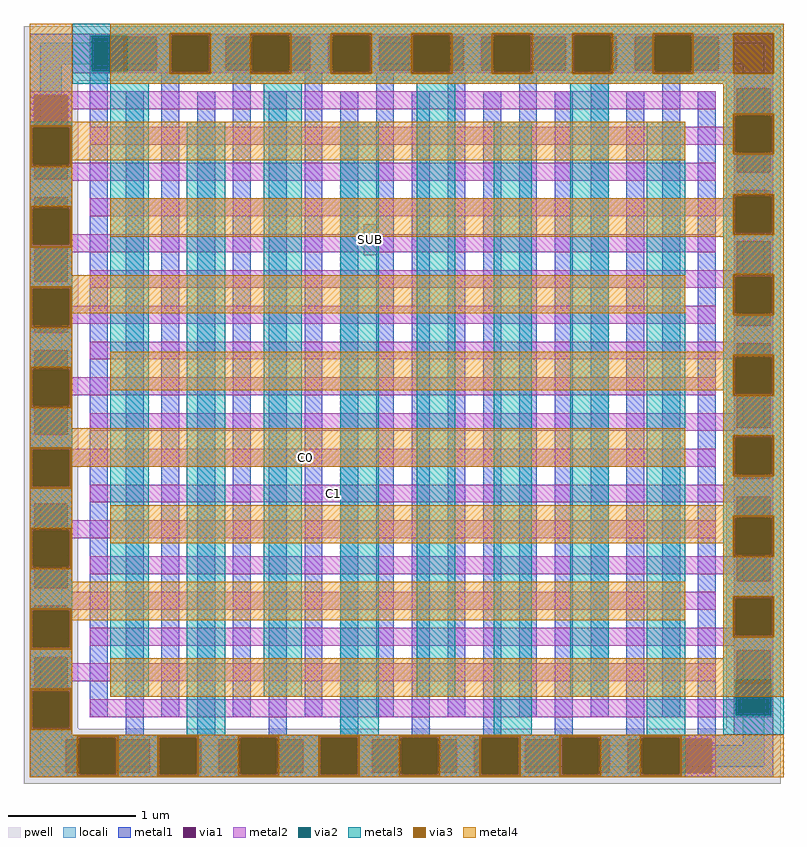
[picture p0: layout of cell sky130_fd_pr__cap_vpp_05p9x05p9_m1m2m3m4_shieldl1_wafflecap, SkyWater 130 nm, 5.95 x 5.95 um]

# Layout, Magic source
magic
tech sky130A
magscale 1 2
<< pwell >>
rect -10 1090 1176 1176
rect -10 76 76 1090
rect 523 817 544 866
rect 1090 76 1176 1090
rect -10 -10 1176 76
<< locali >>
rect 16 1116 1150 1150
rect 16 50 50 1116
rect 1116 50 1150 1116
rect 16 16 1150 50
<< metal1 >>
rect 0 1068 66 1164
rect 0 1016 7 1068
rect 59 1016 66 1068
rect 0 988 66 1016
rect 0 936 7 988
rect 59 936 66 988
rect 0 908 66 936
rect 0 856 7 908
rect 59 856 66 908
rect 0 828 66 856
rect 0 776 7 828
rect 59 776 66 828
rect 0 748 66 776
rect 0 696 7 748
rect 59 696 66 748
rect 0 668 66 696
rect 0 616 7 668
rect 59 616 66 668
rect 0 588 66 616
rect 0 536 7 588
rect 59 536 66 588
rect 0 508 66 536
rect 0 456 7 508
rect 59 456 66 508
rect 0 428 66 456
rect 0 376 7 428
rect 59 376 66 428
rect 0 348 66 376
rect 0 296 7 348
rect 59 296 66 348
rect 0 268 66 296
rect 0 216 7 268
rect 59 216 66 268
rect 0 188 66 216
rect 0 136 7 188
rect 59 136 66 188
rect 0 66 66 136
rect 94 1159 1164 1164
rect 94 1107 147 1159
rect 199 1107 227 1159
rect 279 1107 307 1159
rect 359 1107 387 1159
rect 439 1107 467 1159
rect 519 1107 547 1159
rect 599 1107 627 1159
rect 679 1107 707 1159
rect 759 1107 787 1159
rect 839 1107 867 1159
rect 919 1107 947 1159
rect 999 1107 1027 1159
rect 1079 1107 1164 1159
rect 94 1102 1164 1107
rect 94 94 122 1102
rect 150 66 178 1074
rect 206 94 234 1102
rect 262 66 290 1074
rect 318 94 346 1102
rect 374 66 402 1074
rect 430 94 458 1102
rect 486 66 514 1074
rect 542 94 570 1102
rect 598 66 626 1074
rect 654 94 682 1102
rect 710 66 738 1074
rect 766 94 794 1102
rect 822 66 850 1074
rect 878 94 906 1102
rect 934 66 962 1074
rect 990 94 1018 1102
rect 1102 1079 1164 1102
rect 1046 66 1074 1074
rect 1102 1027 1107 1079
rect 1159 1027 1164 1079
rect 1102 999 1164 1027
rect 1102 947 1107 999
rect 1159 947 1164 999
rect 1102 919 1164 947
rect 1102 867 1107 919
rect 1159 867 1164 919
rect 1102 839 1164 867
rect 1102 787 1107 839
rect 1159 787 1164 839
rect 1102 759 1164 787
rect 1102 707 1107 759
rect 1159 707 1164 759
rect 1102 679 1164 707
rect 1102 627 1107 679
rect 1159 627 1164 679
rect 1102 599 1164 627
rect 1102 547 1107 599
rect 1159 547 1164 599
rect 1102 519 1164 547
rect 1102 467 1107 519
rect 1159 467 1164 519
rect 1102 439 1164 467
rect 1102 387 1107 439
rect 1159 387 1164 439
rect 1102 359 1164 387
rect 1102 307 1107 359
rect 1159 307 1164 359
rect 1102 279 1164 307
rect 1102 227 1107 279
rect 1159 227 1164 279
rect 1102 199 1164 227
rect 1102 147 1107 199
rect 1159 147 1164 199
rect 1102 94 1164 147
rect 0 59 1164 66
rect 0 7 56 59
rect 108 7 136 59
rect 188 7 216 59
rect 268 7 296 59
rect 348 7 376 59
rect 428 7 456 59
rect 508 7 536 59
rect 588 7 616 59
rect 668 7 696 59
rect 748 7 776 59
rect 828 7 856 59
rect 908 7 936 59
rect 988 7 1016 59
rect 1068 7 1164 59
rect 0 0 1164 7
<< via1 >>
rect 7 1016 59 1068
rect 7 936 59 988
rect 7 856 59 908
rect 7 776 59 828
rect 7 696 59 748
rect 7 616 59 668
rect 7 536 59 588
rect 7 456 59 508
rect 7 376 59 428
rect 7 296 59 348
rect 7 216 59 268
rect 7 136 59 188
rect 147 1107 199 1159
rect 227 1107 279 1159
rect 307 1107 359 1159
rect 387 1107 439 1159
rect 467 1107 519 1159
rect 547 1107 599 1159
rect 627 1107 679 1159
rect 707 1107 759 1159
rect 787 1107 839 1159
rect 867 1107 919 1159
rect 947 1107 999 1159
rect 1027 1107 1079 1159
rect 1107 1027 1159 1079
rect 1107 947 1159 999
rect 1107 867 1159 919
rect 1107 787 1159 839
rect 1107 707 1159 759
rect 1107 627 1159 679
rect 1107 547 1159 599
rect 1107 467 1159 519
rect 1107 387 1159 439
rect 1107 307 1159 359
rect 1107 227 1159 279
rect 1107 147 1159 199
rect 56 7 108 59
rect 136 7 188 59
rect 216 7 268 59
rect 296 7 348 59
rect 376 7 428 59
rect 456 7 508 59
rect 536 7 588 59
rect 616 7 668 59
rect 696 7 748 59
rect 776 7 828 59
rect 856 7 908 59
rect 936 7 988 59
rect 1016 7 1068 59
<< metal2 >>
rect 66 1161 1164 1164
rect 66 1105 97 1161
rect 153 1159 223 1161
rect 279 1159 349 1161
rect 405 1159 475 1161
rect 531 1159 601 1161
rect 657 1159 727 1161
rect 783 1159 853 1161
rect 909 1159 979 1161
rect 1035 1159 1164 1161
rect 199 1107 223 1159
rect 279 1107 307 1159
rect 439 1107 467 1159
rect 531 1107 547 1159
rect 599 1107 601 1159
rect 679 1107 707 1159
rect 783 1107 787 1159
rect 839 1107 853 1159
rect 919 1107 947 1159
rect 1079 1107 1164 1159
rect 153 1105 223 1107
rect 279 1105 349 1107
rect 405 1105 475 1107
rect 531 1105 601 1107
rect 657 1105 727 1107
rect 783 1105 853 1107
rect 909 1105 979 1107
rect 1035 1105 1164 1107
rect 66 1102 1164 1105
rect 1102 1079 1164 1102
rect 0 1068 1074 1074
rect 0 1016 7 1068
rect 59 1046 1074 1068
rect 59 1016 66 1046
rect 1102 1035 1107 1079
rect 1159 1035 1164 1079
rect 1102 1018 1105 1035
rect 0 960 5 1016
rect 61 962 66 1016
rect 94 990 1105 1018
rect 1102 979 1105 990
rect 1161 979 1164 1035
rect 61 960 1074 962
rect 0 936 7 960
rect 59 936 1074 960
rect 0 934 1074 936
rect 1102 947 1107 979
rect 1159 947 1164 979
rect 0 908 66 934
rect 0 890 7 908
rect 59 890 66 908
rect 1102 919 1164 947
rect 1102 909 1107 919
rect 1159 909 1164 919
rect 1102 906 1105 909
rect 0 834 5 890
rect 61 850 66 890
rect 94 878 1105 906
rect 1102 853 1105 878
rect 1161 853 1164 909
rect 61 834 1074 850
rect 0 828 1074 834
rect 0 776 7 828
rect 59 822 1074 828
rect 1102 839 1164 853
rect 59 776 66 822
rect 1102 794 1107 839
rect 0 764 66 776
rect 94 787 1107 794
rect 1159 787 1164 839
rect 94 783 1164 787
rect 94 766 1105 783
rect 0 708 5 764
rect 61 738 66 764
rect 61 710 1074 738
rect 1102 727 1105 766
rect 1161 727 1164 783
rect 61 708 66 710
rect 0 696 7 708
rect 59 696 66 708
rect 0 668 66 696
rect 1102 707 1107 727
rect 1159 707 1164 727
rect 1102 682 1164 707
rect 0 638 7 668
rect 59 638 66 668
rect 94 679 1164 682
rect 94 657 1107 679
rect 1159 657 1164 679
rect 94 654 1105 657
rect 0 582 5 638
rect 61 626 66 638
rect 61 598 1074 626
rect 1102 601 1105 654
rect 1161 601 1164 657
rect 1102 599 1164 601
rect 61 582 66 598
rect 0 536 7 582
rect 59 536 66 582
rect 1102 570 1107 599
rect 94 547 1107 570
rect 1159 547 1164 599
rect 94 542 1164 547
rect 0 514 66 536
rect 1102 531 1164 542
rect 0 512 1074 514
rect 0 456 5 512
rect 61 486 1074 512
rect 61 456 66 486
rect 1102 475 1105 531
rect 1161 475 1164 531
rect 1102 467 1107 475
rect 1159 467 1164 475
rect 1102 458 1164 467
rect 0 428 66 456
rect 94 439 1164 458
rect 94 430 1107 439
rect 0 386 7 428
rect 59 402 66 428
rect 1102 405 1107 430
rect 1159 405 1164 439
rect 59 386 1074 402
rect 0 330 5 386
rect 61 374 1074 386
rect 61 330 66 374
rect 1102 349 1105 405
rect 1161 349 1164 405
rect 1102 346 1107 349
rect 0 296 7 330
rect 59 296 66 330
rect 94 318 1107 346
rect 0 290 66 296
rect 1102 307 1107 318
rect 1159 307 1164 349
rect 0 268 1074 290
rect 0 260 7 268
rect 59 262 1074 268
rect 1102 279 1164 307
rect 59 260 66 262
rect 0 204 5 260
rect 61 204 66 260
rect 1102 234 1105 279
rect 94 223 1105 234
rect 1161 223 1164 279
rect 94 206 1164 223
rect 0 188 66 204
rect 0 136 7 188
rect 59 178 66 188
rect 1102 199 1164 206
rect 59 150 1074 178
rect 1102 153 1107 199
rect 1159 153 1164 199
rect 59 136 66 150
rect 0 134 66 136
rect 0 78 5 134
rect 61 78 66 134
rect 1102 122 1105 153
rect 94 97 1105 122
rect 1161 97 1164 153
rect 94 94 1164 97
rect 0 66 66 78
rect 1102 66 1164 94
rect 0 61 1074 66
rect 0 59 78 61
rect 134 59 204 61
rect 260 59 330 61
rect 386 59 456 61
rect 512 59 582 61
rect 638 59 708 61
rect 764 59 834 61
rect 890 59 960 61
rect 1016 59 1074 61
rect 0 7 56 59
rect 134 7 136 59
rect 188 7 204 59
rect 268 7 296 59
rect 428 7 456 59
rect 512 7 536 59
rect 668 7 696 59
rect 764 7 776 59
rect 828 7 834 59
rect 908 7 936 59
rect 1068 7 1074 59
rect 0 5 78 7
rect 134 5 204 7
rect 260 5 330 7
rect 386 5 456 7
rect 512 5 582 7
rect 638 5 708 7
rect 764 5 834 7
rect 890 5 960 7
rect 1016 5 1074 7
rect 0 0 1074 5
<< via2 >>
rect 97 1159 153 1161
rect 223 1159 279 1161
rect 349 1159 405 1161
rect 475 1159 531 1161
rect 601 1159 657 1161
rect 727 1159 783 1161
rect 853 1159 909 1161
rect 979 1159 1035 1161
rect 97 1107 147 1159
rect 147 1107 153 1159
rect 223 1107 227 1159
rect 227 1107 279 1159
rect 349 1107 359 1159
rect 359 1107 387 1159
rect 387 1107 405 1159
rect 475 1107 519 1159
rect 519 1107 531 1159
rect 601 1107 627 1159
rect 627 1107 657 1159
rect 727 1107 759 1159
rect 759 1107 783 1159
rect 853 1107 867 1159
rect 867 1107 909 1159
rect 979 1107 999 1159
rect 999 1107 1027 1159
rect 1027 1107 1035 1159
rect 97 1105 153 1107
rect 223 1105 279 1107
rect 349 1105 405 1107
rect 475 1105 531 1107
rect 601 1105 657 1107
rect 727 1105 783 1107
rect 853 1105 909 1107
rect 979 1105 1035 1107
rect 1105 1027 1107 1035
rect 1107 1027 1159 1035
rect 1159 1027 1161 1035
rect 5 988 61 1016
rect 5 960 7 988
rect 7 960 59 988
rect 59 960 61 988
rect 1105 999 1161 1027
rect 1105 979 1107 999
rect 1107 979 1159 999
rect 1159 979 1161 999
rect 5 856 7 890
rect 7 856 59 890
rect 59 856 61 890
rect 5 834 61 856
rect 1105 867 1107 909
rect 1107 867 1159 909
rect 1159 867 1161 909
rect 1105 853 1161 867
rect 5 748 61 764
rect 5 708 7 748
rect 7 708 59 748
rect 59 708 61 748
rect 1105 759 1161 783
rect 1105 727 1107 759
rect 1107 727 1159 759
rect 1159 727 1161 759
rect 5 616 7 638
rect 7 616 59 638
rect 59 616 61 638
rect 5 588 61 616
rect 1105 627 1107 657
rect 1107 627 1159 657
rect 1159 627 1161 657
rect 1105 601 1161 627
rect 5 582 7 588
rect 7 582 59 588
rect 59 582 61 588
rect 5 508 61 512
rect 5 456 7 508
rect 7 456 59 508
rect 59 456 61 508
rect 1105 519 1161 531
rect 1105 475 1107 519
rect 1107 475 1159 519
rect 1159 475 1161 519
rect 5 376 7 386
rect 7 376 59 386
rect 59 376 61 386
rect 5 348 61 376
rect 5 330 7 348
rect 7 330 59 348
rect 59 330 61 348
rect 1105 387 1107 405
rect 1107 387 1159 405
rect 1159 387 1161 405
rect 1105 359 1161 387
rect 1105 349 1107 359
rect 1107 349 1159 359
rect 1159 349 1161 359
rect 5 216 7 260
rect 7 216 59 260
rect 59 216 61 260
rect 5 204 61 216
rect 1105 227 1107 279
rect 1107 227 1159 279
rect 1159 227 1161 279
rect 1105 223 1161 227
rect 5 78 61 134
rect 1105 147 1107 153
rect 1107 147 1159 153
rect 1159 147 1161 153
rect 1105 97 1161 147
rect 78 59 134 61
rect 204 59 260 61
rect 330 59 386 61
rect 456 59 512 61
rect 582 59 638 61
rect 708 59 764 61
rect 834 59 890 61
rect 960 59 1016 61
rect 78 7 108 59
rect 108 7 134 59
rect 204 7 216 59
rect 216 7 260 59
rect 330 7 348 59
rect 348 7 376 59
rect 376 7 386 59
rect 456 7 508 59
rect 508 7 512 59
rect 582 7 588 59
rect 588 7 616 59
rect 616 7 638 59
rect 708 7 748 59
rect 748 7 764 59
rect 834 7 856 59
rect 856 7 890 59
rect 960 7 988 59
rect 988 7 1016 59
rect 78 5 134 7
rect 204 5 260 7
rect 330 5 386 7
rect 456 5 512 7
rect 582 5 638 7
rect 708 5 764 7
rect 834 5 890 7
rect 960 5 1016 7
<< metal3 >>
rect 66 1165 1180 1180
rect 66 1161 219 1165
rect 66 1105 97 1161
rect 153 1105 219 1161
rect 66 1101 219 1105
rect 283 1101 345 1165
rect 409 1101 471 1165
rect 535 1101 597 1165
rect 661 1101 723 1165
rect 787 1101 849 1165
rect 913 1101 975 1165
rect 1039 1101 1101 1165
rect 1165 1101 1180 1165
rect 66 1086 1180 1101
rect 0 1020 66 1026
rect 0 956 1 1020
rect 65 956 66 1020
rect 0 894 66 956
rect 0 830 1 894
rect 65 830 66 894
rect 0 768 66 830
rect 0 704 1 768
rect 65 704 66 768
rect 0 642 66 704
rect 0 578 1 642
rect 65 578 66 642
rect 0 516 66 578
rect 0 452 1 516
rect 65 452 66 516
rect 0 390 66 452
rect 0 326 1 390
rect 65 326 66 390
rect 0 264 66 326
rect 0 200 1 264
rect 65 200 66 264
rect 0 138 66 200
rect 0 74 1 138
rect 65 74 66 138
rect 126 126 186 1086
rect 0 66 66 74
rect 246 66 306 1026
rect 366 126 426 1086
rect 486 66 546 1026
rect 606 126 666 1086
rect 726 66 786 1026
rect 846 126 906 1086
rect 1086 1039 1180 1086
rect 966 66 1026 1026
rect 1086 975 1101 1039
rect 1165 975 1180 1039
rect 1086 913 1180 975
rect 1086 849 1101 913
rect 1165 849 1180 913
rect 1086 787 1180 849
rect 1086 723 1101 787
rect 1165 723 1180 787
rect 1086 661 1180 723
rect 1086 597 1101 661
rect 1165 597 1180 661
rect 1086 535 1180 597
rect 1086 471 1101 535
rect 1165 471 1180 535
rect 1086 409 1180 471
rect 1086 345 1101 409
rect 1165 345 1180 409
rect 1086 283 1180 345
rect 1086 219 1101 283
rect 1165 219 1180 283
rect 1086 153 1180 219
rect 1086 97 1105 153
rect 1161 97 1180 153
rect 1086 66 1180 97
rect 0 65 1026 66
rect 0 1 74 65
rect 138 1 200 65
rect 264 1 326 65
rect 390 1 452 65
rect 516 1 578 65
rect 642 1 704 65
rect 768 1 830 65
rect 894 1 956 65
rect 1020 1 1026 65
rect 0 0 1026 1
<< via3 >>
rect 219 1161 283 1165
rect 219 1105 223 1161
rect 223 1105 279 1161
rect 279 1105 283 1161
rect 219 1101 283 1105
rect 345 1161 409 1165
rect 345 1105 349 1161
rect 349 1105 405 1161
rect 405 1105 409 1161
rect 345 1101 409 1105
rect 471 1161 535 1165
rect 471 1105 475 1161
rect 475 1105 531 1161
rect 531 1105 535 1161
rect 471 1101 535 1105
rect 597 1161 661 1165
rect 597 1105 601 1161
rect 601 1105 657 1161
rect 657 1105 661 1161
rect 597 1101 661 1105
rect 723 1161 787 1165
rect 723 1105 727 1161
rect 727 1105 783 1161
rect 783 1105 787 1161
rect 723 1101 787 1105
rect 849 1161 913 1165
rect 849 1105 853 1161
rect 853 1105 909 1161
rect 909 1105 913 1161
rect 849 1101 913 1105
rect 975 1161 1039 1165
rect 975 1105 979 1161
rect 979 1105 1035 1161
rect 1035 1105 1039 1161
rect 975 1101 1039 1105
rect 1101 1101 1165 1165
rect 1 1016 65 1020
rect 1 960 5 1016
rect 5 960 61 1016
rect 61 960 65 1016
rect 1 956 65 960
rect 1 890 65 894
rect 1 834 5 890
rect 5 834 61 890
rect 61 834 65 890
rect 1 830 65 834
rect 1 764 65 768
rect 1 708 5 764
rect 5 708 61 764
rect 61 708 65 764
rect 1 704 65 708
rect 1 638 65 642
rect 1 582 5 638
rect 5 582 61 638
rect 61 582 65 638
rect 1 578 65 582
rect 1 512 65 516
rect 1 456 5 512
rect 5 456 61 512
rect 61 456 65 512
rect 1 452 65 456
rect 1 386 65 390
rect 1 330 5 386
rect 5 330 61 386
rect 61 330 65 386
rect 1 326 65 330
rect 1 260 65 264
rect 1 204 5 260
rect 5 204 61 260
rect 61 204 65 260
rect 1 200 65 204
rect 1 134 65 138
rect 1 78 5 134
rect 5 78 61 134
rect 61 78 65 134
rect 1 74 65 78
rect 1101 1035 1165 1039
rect 1101 979 1105 1035
rect 1105 979 1161 1035
rect 1161 979 1165 1035
rect 1101 975 1165 979
rect 1101 909 1165 913
rect 1101 853 1105 909
rect 1105 853 1161 909
rect 1161 853 1165 909
rect 1101 849 1165 853
rect 1101 783 1165 787
rect 1101 727 1105 783
rect 1105 727 1161 783
rect 1161 727 1165 783
rect 1101 723 1165 727
rect 1101 657 1165 661
rect 1101 601 1105 657
rect 1105 601 1161 657
rect 1161 601 1165 657
rect 1101 597 1165 601
rect 1101 531 1165 535
rect 1101 475 1105 531
rect 1105 475 1161 531
rect 1161 475 1165 531
rect 1101 471 1165 475
rect 1101 405 1165 409
rect 1101 349 1105 405
rect 1105 349 1161 405
rect 1161 349 1165 405
rect 1101 345 1165 349
rect 1101 279 1165 283
rect 1101 223 1105 279
rect 1105 223 1161 279
rect 1161 223 1165 279
rect 1101 219 1165 223
rect 74 61 138 65
rect 74 5 78 61
rect 78 5 134 61
rect 134 5 138 61
rect 74 1 138 5
rect 200 61 264 65
rect 200 5 204 61
rect 204 5 260 61
rect 260 5 264 61
rect 200 1 264 5
rect 326 61 390 65
rect 326 5 330 61
rect 330 5 386 61
rect 386 5 390 61
rect 326 1 390 5
rect 452 61 516 65
rect 452 5 456 61
rect 456 5 512 61
rect 512 5 516 61
rect 452 1 516 5
rect 578 61 642 65
rect 578 5 582 61
rect 582 5 638 61
rect 638 5 642 61
rect 578 1 642 5
rect 704 61 768 65
rect 704 5 708 61
rect 708 5 764 61
rect 764 5 768 61
rect 704 1 768 5
rect 830 61 894 65
rect 830 5 834 61
rect 834 5 890 61
rect 890 5 894 61
rect 830 1 894 5
rect 956 61 1020 65
rect 956 5 960 61
rect 960 5 1016 61
rect 1016 5 1020 61
rect 956 1 1020 5
<< metal4 >>
rect 0 1026 66 1180
rect 126 1165 1180 1180
rect 126 1101 219 1165
rect 283 1101 345 1165
rect 409 1101 471 1165
rect 535 1101 597 1165
rect 661 1101 723 1165
rect 787 1101 849 1165
rect 913 1101 975 1165
rect 1039 1101 1101 1165
rect 1165 1101 1180 1165
rect 126 1086 1180 1101
rect 1086 1039 1180 1086
rect 0 1020 1026 1026
rect 0 956 1 1020
rect 65 966 1026 1020
rect 1086 975 1101 1039
rect 1165 975 1180 1039
rect 65 956 66 966
rect 0 894 66 956
rect 1086 913 1180 975
rect 1086 906 1101 913
rect 0 830 1 894
rect 65 830 66 894
rect 126 849 1101 906
rect 1165 849 1180 913
rect 126 846 1180 849
rect 0 786 66 830
rect 1086 787 1180 846
rect 0 768 1026 786
rect 0 704 1 768
rect 65 726 1026 768
rect 65 704 66 726
rect 0 642 66 704
rect 1086 723 1101 787
rect 1165 723 1180 787
rect 1086 666 1180 723
rect 0 578 1 642
rect 65 578 66 642
rect 126 661 1180 666
rect 126 606 1101 661
rect 0 546 66 578
rect 1086 597 1101 606
rect 1165 597 1180 661
rect 0 516 1026 546
rect 0 452 1 516
rect 65 486 1026 516
rect 1086 535 1180 597
rect 65 452 66 486
rect 0 390 66 452
rect 1086 471 1101 535
rect 1165 471 1180 535
rect 1086 426 1180 471
rect 0 326 1 390
rect 65 326 66 390
rect 126 409 1180 426
rect 126 366 1101 409
rect 0 306 66 326
rect 1086 345 1101 366
rect 1165 345 1180 409
rect 0 264 1026 306
rect 0 200 1 264
rect 65 246 1026 264
rect 1086 283 1180 345
rect 65 200 66 246
rect 0 138 66 200
rect 1086 219 1101 283
rect 1165 219 1180 283
rect 1086 186 1180 219
rect 0 74 1 138
rect 65 74 66 138
rect 126 126 1180 186
rect 0 66 66 74
rect 0 65 1180 66
rect 0 1 74 65
rect 138 1 200 65
rect 264 1 326 65
rect 390 1 452 65
rect 516 1 578 65
rect 642 1 704 65
rect 768 1 830 65
rect 894 1 956 65
rect 1020 1 1180 65
rect 0 0 1180 1
<< labels >>
flabel metal2 s 457 432 493 456 0 FreeSans 200 0 0 0 C1
port 2 nsew
flabel metal2 s 422 491 441 511 0 FreeSans 200 0 0 0 C0
port 1 nsew
flabel pwell s 523 817 544 866 0 FreeSans 400 0 0 0 SUB
port 3 nsew
<< properties >>
string GDS_FILE $PDKPATH/libs.ref/sky130_fd_pr/gds/sky130_fd_pr.gds
string GDS_END 202044
string GDS_START 187900
string path 28.750 28.325 0.400 28.325 
<< end >>
